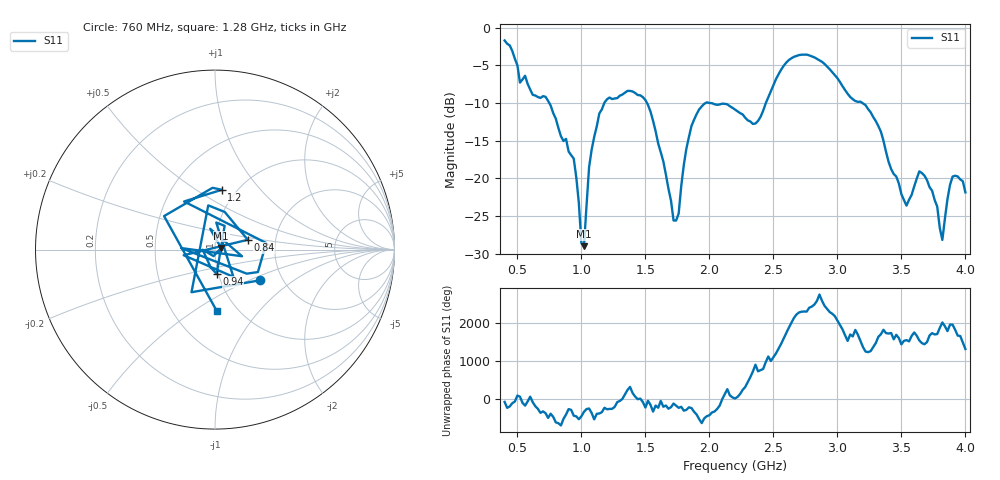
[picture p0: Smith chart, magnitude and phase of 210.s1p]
!Created with skrf (http://scikit-rf.org).
# Hz S RI R 50.0
!freq ReS11 ImS11
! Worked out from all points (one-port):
!   181 points, 400 MHz to 4 GHz, reference 50 ohm
!   lowest |S11| = -29.0 dB at 1.02 GHz (marker M1), VSWR 1.07, Z = 53.5 + j1.05 ohm
!   |S11| at or under -10 dB: 1.513 GHz to 1.969 GHz (456.5 MHz wide, 26.2 % of centre); 2.016 GHz to 2.441 GHz (425.1 MHz wide, 19.1 % of centre); 3.197 GHz to end of sweep (the widest 3 of 4)
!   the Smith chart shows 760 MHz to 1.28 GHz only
!   S11 on the Smith chart (normalised r, x): 760 MHz: 1.54, -0.58; 840 MHz: 1.44, +0.16; 940 MHz: 0.98, -0.27; 1.2 GHz: 0.86, +0.64; 1.28 GHz: 0.81, -0.62
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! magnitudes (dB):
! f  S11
! 400 MHz  -1.7
! 520 MHz  -7.3
! 760 MHz  -10.3
! 840 MHz  -14.4
! 860 MHz  -15.0
! 940 MHz  -17.4
! 1 GHz  -28.6
! 1.02 GHz  -29.0
! 1.08 GHz  -16.2
! 1.2 GHz  -9.5
! 1.28 GHz  -9.3
! 1.3 GHz  -9.0
! 1.52 GHz  -10.2
! 1.72 GHz  -25.6
! 1.76 GHz  -24.7
! 1.82 GHz  -16.1
! 1.92 GHz  -10.8
! 2.2 GHz  -10.9
! 2.36 GHz  -12.7
! 2.66 GHz  -3.9
! 2.88 GHz  -4.5
! 3.1 GHz  -9.2
! 3.3 GHz  -12.4
! 3.56 GHz  -22.8
! 3.68 GHz  -19.6
! 3.82 GHz  -28.2
! 3.9 GHz  -19.8
! 4 GHz  -21.8
